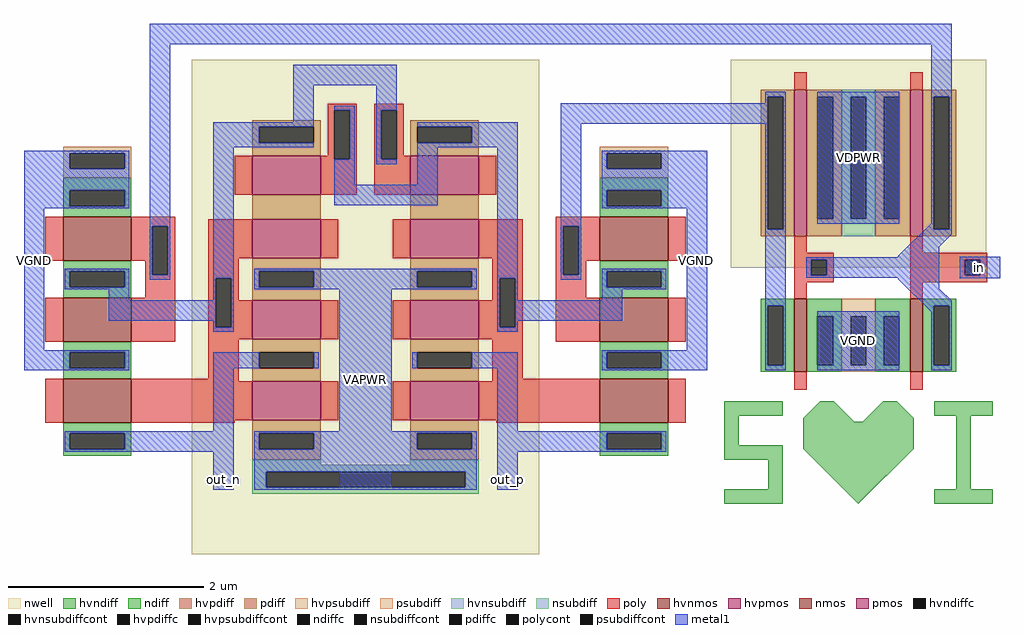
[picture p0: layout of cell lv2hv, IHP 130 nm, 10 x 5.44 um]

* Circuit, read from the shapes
.subckt lv2hv VGND VDPWR VAPWR in out_p out_n
XM1 VGND n1 out_n VGND sg13_hv_nmos w=0.7u l=0.45u
XM2 n1 lv2hv_core_0/in_n VGND VGND sg13_hv_nmos w=0.7u l=0.45u m=2
XM3 VGND n2 out_p VGND sg13_hv_nmos w=0.7u l=0.45u
XM4 n2 lv2hv_core_0/in_p VGND VGND sg13_hv_nmos w=0.7u l=0.45u m=2
XM5 VGND lv2hv_core_0/in_n lv2hv_core_0/in_p VGND sg13_lv_nmos w=0.75u l=0.13u
XM6 lv2hv_core_0/in_n in VGND VGND sg13_lv_nmos w=0.75u l=0.13u
XM7 out_n n1 VAPWR VAPWR sg13_hv_pmos w=0.7u l=0.4u m=2
XM8 n3 n1 VAPWR VAPWR sg13_hv_pmos w=0.7u l=0.4u
XM9 n1 n2 n3 VAPWR sg13_hv_pmos w=0.7u l=0.4u
XM10 out_p n2 VAPWR VAPWR sg13_hv_pmos w=0.7u l=0.4u m=2
XM11 n4 n2 VAPWR VAPWR sg13_hv_pmos w=0.7u l=0.4u
XM12 n2 n1 n4 VAPWR sg13_hv_pmos w=0.7u l=0.4u
XM13 VDPWR lv2hv_core_0/in_n lv2hv_core_0/in_p VDPWR sg13_lv_pmos w=1.5u l=0.13u
XM14 lv2hv_core_0/in_n in VDPWR VDPWR sg13_lv_pmos w=1.5u l=0.13u
.ends

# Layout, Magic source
magic
tech ihp-sg13cmos5l
magscale 1 2
<< ndiff >>
rect 1435 284 1555 314
rect 1435 224 1465 284
tri 1597 279 1632 314 se
rect 1632 279 1659 314
rect 1597 272 1659 279
tri 1659 272 1701 314 sw
tri 1719 272 1761 314 se
rect 1761 279 1788 314
tri 1788 279 1823 314 sw
rect 1865 284 1985 314
rect 1761 272 1823 279
rect 1435 194 1555 224
rect 1525 134 1555 194
rect 1435 104 1555 134
rect 1597 217 1823 272
tri 1597 104 1710 217 ne
tri 1710 104 1823 217 nw
rect 1910 134 1940 284
rect 1865 104 1985 134
<< metal1 >>
rect 258 1046 1901 1088
rect 258 883 300 1046
rect 1859 948 1901 1046
rect 1100 883 1519 925
rect 0 377 42 827
rect 388 133 430 175
rect 646 133 754 585
rect 1358 377 1400 827
rect 1626 678 1794 948
rect 1918 566 2000 610
rect 1626 378 1794 498
rect 970 133 1012 175
use lv2hv_core  lv2hv_core_0
transform 0 1 0 -1 0 1014
box 0 0 1014 1400
use lv2hv_dual_inv  lv2hv_dual_inv_0
transform 0 1 1448 -1 0 1014
box 0 0 676 552
<< labels >>
flabel metal1 s 1626 378 1794 498 0 FreeSans 400 0 0 0 VGND
port 1 nsew
flabel metal1 s 1358 377 1400 827 0 FreeSans 400 0 0 0 VGND
port 1 nsew
flabel metal1 s 0 377 42 827 0 FreeSans 400 0 0 0 VGND
port 1 nsew
flabel metal1 s 1626 678 1794 948 0 FreeSans 400 0 0 0 VDPWR
port 2 nsew
flabel metal1 s 646 133 754 585 0 FreeSans 400 0 0 0 VAPWR
port 3 nsew
flabel metal1 s 1918 566 2000 610 0 FreeSans 400 0 0 0 in
port 4 nsew
flabel metal1 s 970 133 1012 175 0 FreeSans 400 0 0 0 out_p
port 5 nsew
flabel metal1 s 388 133 430 175 0 FreeSans 400 0 0 0 out_n
port 6 nsew
<< properties >>
string FIXED_BBOX 0 0 2000 1100
string MASKHINTS_PSD 388 194 1012 195
<< end >>

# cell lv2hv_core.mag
magic
tech ihp-sg13cmos5l
magscale 1 2
<< nwell >>
rect 0 344 1014 1056
<< hvnmos >>
rect 322 1180 412 1320
rect 488 1180 578 1320
rect 654 1180 744 1320
rect 322 80 412 220
rect 488 80 578 220
rect 654 80 744 220
<< hvpmos >>
rect 197 792 277 932
rect 327 792 407 932
rect 493 792 573 932
rect 659 792 739 932
rect 197 468 277 608
rect 327 468 407 608
rect 493 468 573 608
rect 659 468 739 608
<< hvndiff >>
rect 242 1306 322 1320
rect 242 1194 268 1306
rect 300 1194 322 1306
rect 242 1180 322 1194
rect 412 1306 488 1320
rect 412 1194 434 1306
rect 466 1194 488 1306
rect 412 1180 488 1194
rect 578 1306 654 1320
rect 578 1194 600 1306
rect 632 1194 654 1306
rect 578 1180 654 1194
rect 744 1306 812 1320
rect 744 1194 766 1306
rect 798 1194 812 1306
rect 744 1180 812 1194
rect 242 206 322 220
rect 242 94 268 206
rect 300 94 322 206
rect 242 80 322 94
rect 412 206 488 220
rect 412 94 434 206
rect 466 94 488 206
rect 412 80 488 94
rect 578 206 654 220
rect 578 94 600 206
rect 632 94 654 206
rect 578 80 654 94
rect 744 206 812 220
rect 744 94 766 206
rect 798 94 812 206
rect 744 80 812 94
<< hvpdiff >>
rect 124 918 197 932
rect 124 806 138 918
rect 170 806 197 918
rect 124 792 197 806
rect 277 792 327 932
rect 407 918 493 932
rect 407 806 434 918
rect 466 806 493 918
rect 407 792 493 806
rect 573 918 659 932
rect 573 806 600 918
rect 632 806 659 918
rect 573 792 659 806
rect 739 918 820 932
rect 739 806 766 918
rect 798 806 820 918
rect 739 792 820 806
rect 124 594 197 608
rect 124 482 138 594
rect 170 482 197 594
rect 124 468 197 482
rect 277 468 327 608
rect 407 594 493 608
rect 407 482 434 594
rect 466 482 493 594
rect 407 468 493 482
rect 573 594 659 608
rect 573 482 600 594
rect 632 482 659 594
rect 573 468 659 482
rect 739 594 820 608
rect 739 482 766 594
rect 798 482 820 594
rect 739 468 820 482
<< hvndiffc >>
rect 268 1194 300 1306
rect 434 1194 466 1306
rect 600 1194 632 1306
rect 766 1194 798 1306
rect 268 94 300 206
rect 434 94 466 206
rect 600 94 632 206
rect 766 94 798 206
<< hvpdiffc >>
rect 138 806 170 918
rect 434 806 466 918
rect 600 806 632 918
rect 766 806 798 918
rect 138 482 170 594
rect 434 482 466 594
rect 600 482 632 594
rect 766 482 798 594
<< hvpsubdiff >>
rect 178 1306 242 1320
rect 178 1194 192 1306
rect 224 1194 242 1306
rect 178 1180 242 1194
rect 178 206 242 220
rect 178 94 192 206
rect 224 94 242 206
rect 178 80 242 94
<< hvnsubdiff >>
rect 820 904 890 932
rect 820 792 844 904
rect 830 608 844 792
rect 820 496 844 608
rect 876 496 890 904
rect 820 468 890 496
<< hvpsubdiffcont >>
rect 192 1194 224 1306
rect 192 94 224 206
<< hvnsubdiffcont >>
rect 844 496 876 904
<< poly >>
rect 322 1320 412 1356
rect 488 1320 578 1356
rect 654 1320 744 1356
rect 322 1152 412 1180
rect 488 1152 578 1180
rect 322 1137 578 1152
rect 322 1105 341 1137
rect 441 1105 578 1137
rect 322 1090 578 1105
rect 654 1022 744 1180
rect 327 1007 744 1022
rect 327 975 448 1007
rect 548 975 744 1007
rect 327 968 744 975
rect 197 932 277 968
rect 327 960 739 968
rect 327 932 407 960
rect 493 932 573 960
rect 659 932 739 960
rect 197 778 277 792
rect 90 764 277 778
rect 90 732 104 764
rect 204 732 277 764
rect 327 756 407 792
rect 493 756 573 792
rect 659 756 739 792
rect 90 718 277 732
rect 90 668 277 682
rect 90 636 104 668
rect 204 636 277 668
rect 90 622 277 636
rect 197 608 277 622
rect 327 608 407 644
rect 493 608 573 644
rect 659 608 739 644
rect 197 432 277 468
rect 327 440 407 468
rect 493 440 573 468
rect 659 440 739 468
rect 327 432 739 440
rect 327 425 744 432
rect 327 393 448 425
rect 548 393 744 425
rect 327 378 744 393
rect 322 295 578 310
rect 322 263 341 295
rect 441 263 578 295
rect 322 248 578 263
rect 322 220 412 248
rect 488 220 578 248
rect 654 220 744 378
rect 322 44 412 80
rect 488 44 578 80
rect 654 44 744 80
<< polycont >>
rect 341 1105 441 1137
rect 448 975 548 1007
rect 104 732 204 764
rect 104 636 204 668
rect 448 393 548 425
rect 341 263 441 295
<< metal1 >>
rect 187 1358 637 1400
rect 187 1306 305 1358
rect 187 1194 192 1306
rect 224 1194 268 1306
rect 300 1194 305 1306
rect 187 1184 305 1194
rect 429 1306 471 1316
rect 429 1194 434 1306
rect 466 1226 471 1306
rect 595 1306 637 1358
rect 466 1194 535 1226
rect 429 1184 535 1194
rect 595 1194 600 1306
rect 632 1194 637 1306
rect 595 1184 637 1194
rect 761 1306 803 1316
rect 761 1194 766 1306
rect 798 1194 803 1306
rect 131 1137 451 1142
rect 131 1105 341 1137
rect 441 1105 451 1137
rect 131 1100 451 1105
rect 493 1012 535 1184
rect 761 1012 803 1194
rect 128 1007 558 1012
rect 128 975 448 1007
rect 548 975 558 1007
rect 128 970 558 975
rect 600 970 881 1012
rect 128 918 180 970
rect 128 806 138 918
rect 170 848 180 918
rect 429 918 471 928
rect 170 806 298 848
rect 10 732 104 764
rect 204 732 214 764
rect 10 722 214 732
rect 10 594 52 722
rect 256 678 298 806
rect 94 668 298 678
rect 94 636 104 668
rect 204 636 298 668
rect 429 806 434 918
rect 466 806 471 918
rect 429 754 471 806
rect 600 918 632 970
rect 600 796 632 806
rect 761 918 881 928
rect 761 806 766 918
rect 798 904 881 918
rect 798 806 844 904
rect 761 754 844 806
rect 429 646 844 754
rect 429 594 471 646
rect 10 552 138 594
rect 128 482 138 552
rect 170 482 180 594
rect 128 430 180 482
rect 429 482 434 594
rect 466 482 471 594
rect 429 472 471 482
rect 600 594 632 604
rect 600 430 632 482
rect 761 594 844 646
rect 761 482 766 594
rect 798 496 844 594
rect 876 496 881 904
rect 798 482 881 496
rect 761 472 881 482
rect 128 425 558 430
rect 128 393 448 425
rect 548 393 558 425
rect 128 388 558 393
rect 600 388 881 430
rect 131 295 451 300
rect 131 263 341 295
rect 441 263 451 295
rect 131 258 451 263
rect 493 216 535 388
rect 187 206 305 216
rect 187 94 192 206
rect 224 94 268 206
rect 300 94 305 206
rect 187 42 305 94
rect 429 206 535 216
rect 429 94 434 206
rect 466 174 535 206
rect 595 206 637 216
rect 466 94 471 174
rect 429 84 471 94
rect 595 94 600 206
rect 632 94 637 206
rect 595 42 637 94
rect 761 206 803 388
rect 761 94 766 206
rect 798 94 803 206
rect 761 84 803 94
rect 187 0 637 42
<< labels >>
flabel metal1 s 187 1358 637 1400 0 FreeSans 400 0 0 0 VGND
port 0 nsew ground input
flabel metal1 s 187 0 637 42 0 FreeSans 400 0 0 0 VGND
port 0 nsew ground input
flabel metal1 s 429 646 881 754 0 FreeSans 400 0 0 0 VAPWR
port 1 nsew power input
flabel metal1 s 131 1100 173 1142 0 FreeSans 160 0 0 0 in_p
port 2 nsew signal input
flabel metal1 s 131 258 173 300 0 FreeSans 160 0 0 0 in_n
port 3 nsew signal input
flabel metal1 s 839 970 881 1012 0 FreeSans 160 0 0 0 out_p
port 4 nsew signal output
flabel metal1 s 839 388 881 430 0 FreeSans 160 0 0 0 out_n
port 5 nsew signal output
<< properties >>
string FIXED_BBOX 0 0 1014 1400
<< end >>

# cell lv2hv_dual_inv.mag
magic
tech ihp-sg13cmos5l
magscale 1 2
<< nwell >>
rect 0 518 424 524
rect 0 0 426 518
<< nmos >>
rect 490 368 640 394
rect 490 130 640 156
<< pmos >>
rect 62 368 362 394
rect 62 130 362 156
<< ndiff >>
rect 490 448 640 462
rect 490 416 504 448
rect 626 416 640 448
rect 490 394 640 416
rect 490 346 640 368
rect 490 314 526 346
rect 626 314 640 346
rect 490 296 640 314
rect 490 210 640 228
rect 490 178 526 210
rect 626 178 640 210
rect 490 156 640 178
rect 490 108 640 130
rect 490 76 504 108
rect 626 76 640 108
rect 490 62 640 76
<< pdiff >>
rect 62 448 362 462
rect 62 416 76 448
rect 348 416 362 448
rect 62 394 362 416
rect 62 346 362 368
rect 62 314 76 346
rect 326 314 362 346
rect 62 296 362 314
rect 62 210 362 228
rect 62 178 76 210
rect 326 178 362 210
rect 62 156 362 178
rect 62 108 362 130
rect 62 76 76 108
rect 348 76 362 108
rect 62 62 362 76
<< ndiffc >>
rect 504 416 626 448
rect 526 314 626 346
rect 526 178 626 210
rect 504 76 626 108
<< pdiffc >>
rect 76 416 348 448
rect 76 314 326 346
rect 76 178 326 210
rect 76 76 348 108
<< psubdiff >>
rect 490 278 640 296
rect 490 246 526 278
rect 626 246 640 278
rect 490 228 640 246
<< nsubdiff >>
rect 62 278 362 296
rect 62 246 76 278
rect 326 246 362 278
rect 62 228 362 246
<< psubdiffcont >>
rect 526 246 626 278
<< nsubdiffcont >>
rect 76 246 326 278
<< poly >>
rect 396 512 456 526
rect 396 480 410 512
rect 442 480 456 512
rect 396 394 456 480
rect 26 368 62 394
rect 362 368 490 394
rect 640 368 676 394
rect 396 197 456 211
rect 396 165 410 197
rect 442 165 456 197
rect 396 156 456 165
rect 26 130 62 156
rect 362 130 490 156
rect 640 130 676 156
<< polycont >>
rect 410 480 442 512
rect 410 165 442 197
<< metal1 >>
rect 404 512 448 552
rect 404 480 410 512
rect 442 480 448 512
rect 404 470 448 480
rect 66 448 358 453
rect 66 416 76 448
rect 348 428 358 448
tri 358 428 383 453 sw
tri 469 428 494 453 se
rect 494 448 636 453
rect 494 428 504 448
rect 348 416 504 428
rect 626 416 636 448
rect 66 411 636 416
tri 335 346 400 411 ne
rect 400 346 452 411
tri 452 346 517 411 nw
rect 66 314 76 346
rect 326 314 336 346
tri 400 341 405 346 ne
rect 66 278 336 314
rect 66 246 76 278
rect 326 246 336 278
rect 66 210 336 246
rect 66 178 76 210
rect 326 178 336 210
rect 405 197 447 346
tri 447 341 452 346 nw
rect 405 165 410 197
rect 442 165 447 197
rect 516 314 526 346
rect 626 314 636 346
rect 516 278 636 314
rect 516 246 526 278
rect 626 246 636 278
rect 516 210 636 246
rect 516 178 526 210
rect 626 178 636 210
rect 405 155 447 165
rect 66 108 636 113
rect 66 76 76 108
rect 348 76 504 108
rect 626 76 636 108
rect 66 71 636 76
<< labels >>
flabel metal1 s 516 178 636 346 0 FreeSans 400 0 0 0 VGND
port 0 nsew ground input
flabel metal1 s 66 178 336 346 0 FreeSans 400 0 0 0 VPWR
port 1 nsew power input
flabel metal1 s 404 470 448 552 0 FreeSans 160 0 0 0 in
port 2 nsew signal input
flabel metal1 s 66 411 358 453 0 FreeSans 160 0 0 0 out_n
port 3 nsew signal output
flabel metal1 s 494 411 636 453 0 FreeSans 160 0 0 0 out_n
port 3 nsew signal output
flabel metal1 s 66 71 636 113 0 FreeSans 160 0 0 0 out_p
port 4 nsew signal output
<< properties >>
string FIXED_BBOX 0 0 702 552
string MASKHINTS_PSD -6 70 26 454 398 296 430 454 398 228 484 296 398 70 430 228
<< end >>
